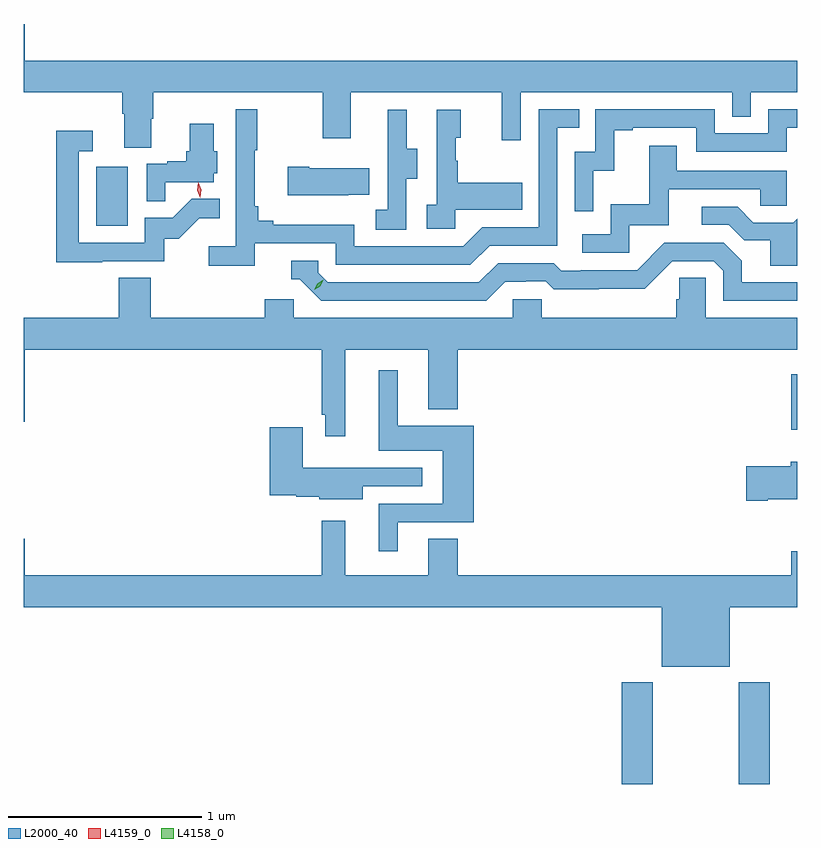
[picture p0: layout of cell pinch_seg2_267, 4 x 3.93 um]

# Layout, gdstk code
import gdstk
lib = gdstk.Library(unit=1e-6, precision=1e-09)
def R(c, l, rs):  # rectangles x0, y0, x1, y1
    for r in rs: c.add(gdstk.rectangle(r[:2], r[2:], *l))
def P(c, l, *ps):  # polygons
    for p in ps: c.add(gdstk.Polygon(p, *l))
L2000_40 = (2000, 40)
L4158_0 = (4158, 0)
L4159_0 = (4159, 0)

pinch_seg2_267 = lib.new_cell('pinch_seg2_267')
R(pinch_seg2_267, L2000_40, [(899.531,656.045,899.691,656.572), (900.136,656.045,900.296,656.572), (900.407,657.878,900.437,658.165), (896.81,658.932,896.974,659.239)])
P(pinch_seg2_267, L2000_40, [(897.097,659.487),(897.105,659.487),(897.105,659.624),(897.982,659.624),(897.982,659.385),(898.129,659.385),(898.129,659.624),(898.91,659.624),(898.91,659.376),(899.007,659.376),(899.007,659.624),(900.102,659.624),(900.102,659.497),(900.198,659.497),(900.198,659.624),(900.437,659.624),(900.437,659.788),(896.44,659.788),(896.44,659.977),(896.437,659.977),(896.437,659.624),(896.945,659.624),(896.945,659.512),(896.957,659.512),(896.957,659.338),(897.097,659.338)],
  [(897.632,658.842),(898.05,658.842),(898.05,658.731),(898.747,658.731),(898.846,658.83),(899.196,658.83),(899.196,659.439),(899.309,659.439),(899.309,659.535),(899.1,659.535),(899.1,658.926),(898.809,658.926),(898.71,658.827),(898.146,658.827),(898.146,658.939),(897.727,658.939),(897.727,658.958),(897.65,658.958),(897.65,659.035),(897.631,659.035),(897.631,659.323),(897.643,659.323),(897.643,659.536),(897.534,659.536),(897.534,658.828),(897.393,658.828),(897.393,658.726),(897.632,658.726)],
  [(899.382,659.219),(899.492,659.219),(899.492,659.427),(899.587,659.427),(899.587,659.439),(899.916,659.439),(899.916,659.316),(900.384,659.316),(900.384,659.439),(900.437,659.439),(900.437,659.535),(900.288,659.535),(900.288,659.412),(900.012,659.412),(900.012,659.535),(899.394,659.535),(899.394,659.316),(899.286,659.316),(899.286,659.007),(899.382,659.007)],
  [(898.416,659.176),(898.471,659.176),(898.471,659.331),(898.417,659.331),(898.417,659.533),(898.319,659.533),(898.319,659.319),(898.32,659.319),(898.32,659.015),(898.257,659.015),(898.257,658.912),(898.416,658.912)],
  [(898.668,659.015),(899.015,659.015),(899.015,659.155),(898.681,659.155),(898.681,659.27),(898.671,659.27),(898.671,659.388),(898.696,659.388),(898.696,659.533),(898.572,659.533),(898.572,659.042),(898.521,659.042),(898.521,658.917),(898.668,658.917)],
  [(897.167,659.157),(897.418,659.157),(897.418,659.205),(897.436,659.205),(897.436,659.319),(897.418,659.319),(897.418,659.461),(897.296,659.461),(897.296,659.319),(897.278,659.319),(897.278,659.266),(897.179,659.266),(897.179,659.253),(897.072,659.253),(897.072,659.059),(897.167,659.059)],
  [(896.843,658.749),(897.162,658.749),(897.162,658.866),(897.238,658.866),(897.345,658.973),(897.449,658.973),(897.449,659.072),(897.305,659.072),(897.207,658.974),(897.063,658.974),(897.063,658.845),(896.721,658.845),(896.721,659.319),(896.794,659.319),(896.794,659.425),(896.605,659.425),(896.605,658.744),(896.843,658.744)],
  [(899.568,658.935),(899.773,658.935),(899.773,659.121),(900.247,659.121),(900.247,659.037),(900.384,659.037),(900.384,659.217),(899.815,659.217),(899.815,659.347),(899.671,659.347),(899.671,659.044),(899.472,659.044),(899.472,658.89),(899.325,658.89),(899.325,658.794),(899.568,658.794)],
  [(898.115,659.093),(898.223,659.093),(898.223,659.23),(897.913,659.23),(897.913,659.238),(897.801,659.238),(897.801,659.09),(898.115,659.09)],
  [(900.437,658.97),(900.417,658.95),(900.211,658.95),(900.13,659.031),(899.943,659.031),(899.943,658.938),(900.084,658.938),(900.164,658.858),(900.299,658.858),(900.299,658.726),(900.437,658.726)],
  [(898.927,658.644),(899.034,658.644),(899.034,658.647),(899.137,658.647),(899.179,658.605),(899.412,658.605),(899.412,658.607),(899.648,658.607),(899.79,658.749),(900.006,658.749),(900.054,658.701),(900.054,658.545),(900.437,658.545),(900.437,658.641),(900.151,658.641),(900.151,658.751),(900.057,658.845),(899.751,658.845),(899.61,658.704),(899.317,658.704),(899.317,658.701),(899.218,658.701),(899.179,658.74),(898.89,658.74),(898.791,658.641),(898.008,658.641),(897.96,658.689),(897.96,658.752),(897.821,658.752),(897.821,658.656),(897.864,658.656),(897.975,658.545),(898.828,658.545)],
  [(898.099,658.292),(898.529,658.292),(898.529,657.983),(898.682,657.983),(898.682,658.292),(900.437,658.292),(900.437,658.456),(899.964,658.456),(899.964,658.664),(899.827,658.664),(899.827,658.554),(899.813,658.554),(899.813,658.456),(899.115,658.456),(899.115,658.554),(898.965,658.554),(898.965,658.456),(897.834,658.456),(897.834,658.554),(897.683,658.554),(897.683,658.456),(897.092,658.456),(897.092,658.664),(896.927,658.664),(896.927,658.456),(896.437,658.456),(896.437,657.918),(896.44,657.918),(896.44,658.292),(897.978,658.292),(897.978,657.955),(897.995,657.955),(897.995,657.843),(898.099,657.843)],
  [(898.372,657.399),(898.763,657.399),(898.763,657.898),(898.372,657.898),(898.372,658.186),(898.274,658.186),(898.274,657.77),(898.604,657.77),(898.604,657.495),(898.274,657.495),(898.274,657.249),(898.372,657.249)],
  [(898.189,657.585),(898.498,657.585),(898.498,657.681),(898.185,657.681),(898.185,657.682),(897.88,657.682),(897.88,657.892),(897.71,657.892),(897.71,657.539),(897.846,657.539),(897.846,657.532),(897.966,657.532),(897.966,657.518),(898.189,657.518)],
  [(900.286,657.518),(900.437,657.518),(900.437,657.712),(900.404,657.712),(900.404,657.689),(900.174,657.689),(900.174,657.511),(900.286,657.511)],
  [(900.088,656.96),(900.437,656.96),(900.437,657.248),(900.407,657.248),(900.407,657.124),(898.682,657.124),(898.682,657.314),(898.529,657.314),(898.529,657.124),(898.099,657.124),(898.099,657.406),(897.978,657.406),(897.978,657.124),(896.44,657.124),(896.44,657.313),(896.437,657.313),(896.437,656.96),(899.738,656.96),(899.738,656.651),(900.088,656.651)])
P(pinch_seg2_267, L4158_0, [(897.938,658.602),(897.938,658.602),(897.954,658.634),(897.985,658.654),(897.986,658.654),(897.986,658.653),(897.969,658.621),(897.938,658.602)])
P(pinch_seg2_267, L4159_0, [(897.349,659.079),(897.335,659.118),(897.34,659.159),(897.34,659.159),(897.34,659.159),(897.355,659.12),(897.35,659.079),(897.35,659.079)])

lib.write_gds('pinch_seg2_267.gds')
